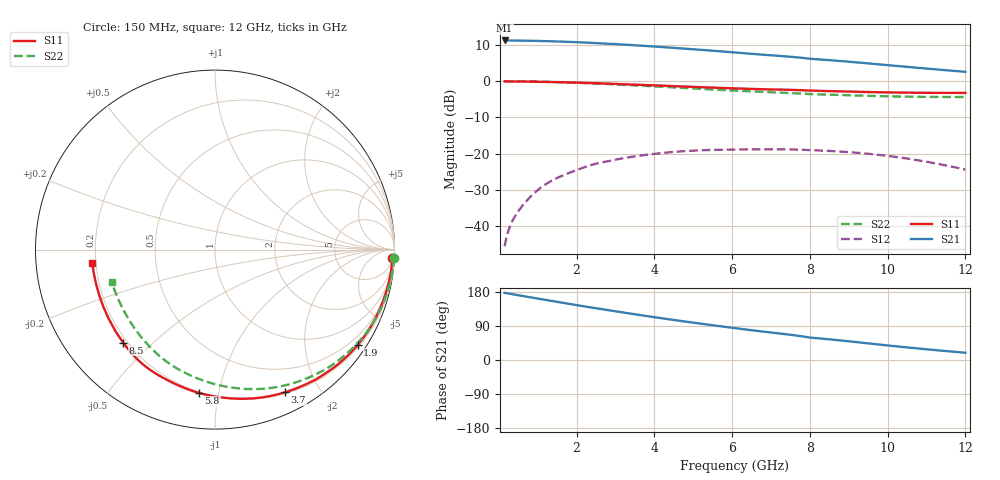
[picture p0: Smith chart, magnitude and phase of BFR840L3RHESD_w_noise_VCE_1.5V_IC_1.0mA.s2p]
! Infineon Technologies  Discrete & RF Semiconductors
! BFR840L3RHESD
! VCE =  1.5 V,  IC =  1.0 mA
! Common Emitter S-Parameters:  Jun 2012
# GHz  S  MA  R  50
!  f  S11  S21  S12  S22
! GHz  MAG  ANG  MAG  ANG  MAG  ANG  MAG  ANG
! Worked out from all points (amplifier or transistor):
!   91 points, 150 MHz to 12 GHz, reference 50 ohm
!   highest |S21| = 11.2 dB at 150 MHz (marker M1)
!   |S21| within 3 dB of that: start of sweep to 5.706 GHz
!   unconditionally stable (mu >= 1): 10.29 GHz to end of sweep
!   at 1.3 GHz: K = 0.06, MSG = 19.4 dB, |S12| = -27.8 dB
!   at 4.3 GHz: K = 0.18, MSG = 14.5 dB, |S12| = -19.7 dB
!   at 12 GHz: K = 1.89, MAG = 8.0 dB, |S12| = -24.4 dB
!   lowest NFmin = 0.33 dB at 450 MHz
!   S11 on the Smith chart (normalised r, x): 150 MHz: 8, -39; 1.9 GHz: 0.27, -3.28; 3.7 GHz: 0.22, -1.58; 5.8 GHz: 0.19, -0.88; 8.5 GHz: 0.18, -0.41; 12 GHz: 0.19, -0.05
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0.15  0.9896 -2.8  3.635 177.2  0.0053 85.6  0.9987 -2.6
0.2  0.9892 -3.8  3.632 176.4  0.0072 82.9  0.9981 -3.5
0.25  0.9888 -4.7  3.629 175.5  0.0088 82.1  0.9976 -4.4
0.35  0.9881 -6.5  3.625 173.7  0.0118 82.0  0.9966 -6.1
0.5  0.9866 -9.2  3.618 171.0  0.016 81.6  0.9948 -8.6
0.8  0.982 -14.4  3.599 165.6  0.025 77.2  0.9894 -13.6
1.2  0.9743 -21.5  3.558 158.7  0.0377 70.6  0.9792 -20.2
1.9  0.9559 -33.7  3.46 146.6  0.0566 60.9  0.9539 -31.7
2.2  0.9457 -39.0  3.406 141.5  0.0648 56.3  0.94 -36.6
3  0.9159 -52.4  3.244 128.5  0.0826 45.0  0.9005 -49.0
3.7  0.8854 -63.9  3.071 117.6  0.0948 35.5  0.8622 -59.7
4.2  0.8654 -71.9  2.948 110.1  0.102 28.9  0.8352 -67.0
5  0.8324 -84.3  2.748 98.6  0.11 18.9  0.7918 -78.4
5.8  0.8033 -96.4  2.55 87.7  0.1134 9.4  0.7518 -89.4
6.1  0.7931 -100.8  2.475 83.8  0.114 6.0  0.7379 -93.5
6.8  0.7725 -110.8  2.312 74.9  0.1144 -1.3  0.7092 -102.7
7.3  0.7623 -117.7  2.209 69.0  0.1144 -5.9  0.6919 -108.9
8  0.7402 -129.3  2.033 59.2  0.1119 -14.8  0.6633 -119.5
8.5  0.7285 -134.7  1.946 54.6  0.1091 -19.4  0.6505 -124.5
9.5  0.7067 -146.8  1.755 43.9  0.0997 -30.2  0.6266 -136.0
10.5  0.6932 -158.6  1.572 33.2  0.0856 -41.2  0.6105 -147.4
12  0.6883 -173.6  1.342 19.2  0.0603 -54.2  0.6034 -162.5
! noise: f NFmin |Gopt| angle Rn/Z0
0.45  0.33  0.88  10  0.41
0.9  0.36  0.86  14  0.39
1.9  0.41  0.8  27  0.37
3.5  0.46  0.76  44  0.34
4  0.5  0.74  55  0.33
5.5  0.61  0.75  73  0.29
7  0.78  0.71  93  0.24
8  0.93  0.69  105  0.21
10  1.21  0.61  124  0.16
12  1.56  0.55  153  0.08
